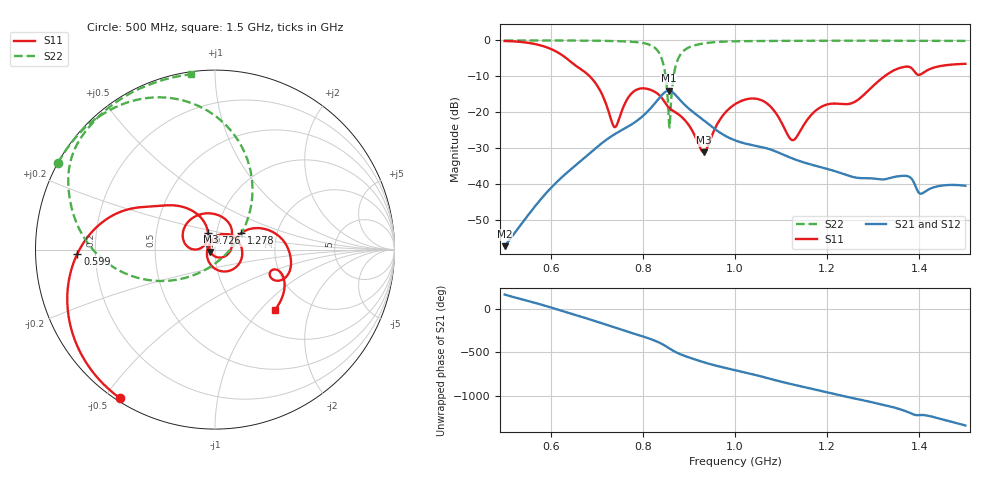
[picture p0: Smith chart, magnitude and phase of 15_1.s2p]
! TOUCHSTONE file generated by CST MICROWAVE STUDIO
! Date and time: Fri Oct  2 18:52:17 2020
! Project name: Scenario_1_Free_Space_out_of_line.cst
! Parameters = {Lambda=346.42; Step_1=17.321; dy1=104.866; dx1=173; L_HA=400; MT=2.54; Rad_Dielectric=30; Rad_Lower=7.3; Rad_Upper=30; a_HA=580; a_WG=246; b_HA=500; b_WG=121; c_HA=0; c_WG=187; d_feed=85; h_feed=15; h_lower=18; h_upper=40}
! Header version: 2018
! Port assignment regex: !\s*Touchstone port\s*([0-9]+)\s*=\s*(CST MWS port|CST DS port)\s*([0-9]+|Zmin|Zmax)\s*\(\"(.*)\"\)(\s*mode\s*([0-9]+))?.*
! Touchstone port assignment:
! Touchstone port 1 = CST MWS port 1 ("")
! Touchstone port 2 = CST MWS port 2 ("")
# GHz S DB R 50
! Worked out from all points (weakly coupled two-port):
!   1003 points, 500 MHz to 1.5 GHz, reference 50 ohm
!   highest |S21| = -13.98 dB at 856 MHz (marker M1); lowest = -57.2 dB at 500 MHz (marker M2)
!   lowest |S11| = -31.1 dB at 932 MHz (marker M3), VSWR 1.06, Z = 47.5 - j1.13 ohm
!   |S11| at or under -10 dB: 685 MHz to 1.324 GHz (639.1 MHz wide, 63.6 % of centre)
!   |S22| runs from -24.2 to 0.0 dB; largest |S21 - S12| = 3.4e-05
!   S11 on the Smith chart (normalised r, x): 500 MHz: 0.01, -0.55; 599 MHz: 0.13, -0.01; 726 MHz: 0.91, +0.17; 1.278 GHz: 1.32, +0.25; 1.5 GHz: 1.39, -1.21
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0.5  -0.16 -122.7  -57.16 161.4  -57.16 161.4  -0.01 151.1
0.599  -2.30 -178.3  -41.19 16.2  -41.19 16.2  -0.02 144.2
0.667  -8.13 141.6  -33.28 -93.3  -33.28 -93.3  -0.05 138.3
0.726  -19.88 112.8  -27.13 167.1  -27.13 167.1  -0.14 131.3
0.74  -24.08 150.5  -25.97 142.5  -25.97 142.5  -0.18 129.2
0.781  -14.10 155.9  -22.89 74.2  -22.89 74.2  -0.42 120.3
0.834  -15.00 70.6  -16.26 -23.2  -16.26 -23.2  -3.19 84.6
0.846  -16.86 49.3  -14.57 -56.0  -14.57 -56.0  -7.45 60.7
0.856  -18.62 37.5  -13.98 -88.3  -13.98 -88.3  -20.83 4.1
0.861  -19.17 32.3  -14.13 -104.8  -14.13 -104.8  -17.36 -118.9
0.867  -19.66 24.8  -14.67 -123.3  -14.67 -123.3  -9.69 -147.8
0.88  -20.80 4.2  -16.44 -156.8  -16.44 -156.8  -4.24 -173.8
0.932  -31.08 -154.7  -22.20 108.8  -22.20 108.8  -0.83 154.1
1  -17.73 28.1  -27.76 18.6  -27.76 18.6  -0.24 140.2
1.064  -17.04 -58.3  -29.80 -63.3  -29.80 -63.3  -0.16 133.0
1.125  -27.71 161.1  -32.81 -144.8  -32.82 -144.8  -0.11 127.6
1.167  -20.49 63.2  -34.56 164.8  -34.56 164.8  -0.10 124.2
1.278  -15.29 32.0  -38.28 34.7  -38.28 34.7  -0.08 115.7
1.334  -9.11 14.5  -38.31 -31.7  -38.31 -31.7  -0.09 111.5
1.377  -7.31 -17.9  -37.82 -103.9  -37.82 -103.9  -0.10 108.2
1.403  -9.43 -19.7  -42.60 -133.8  -42.60 -133.8  -0.10 106.1
1.5  -6.49 -45.2  -40.38 106.8  -40.38 107.0  -0.13 97.8
